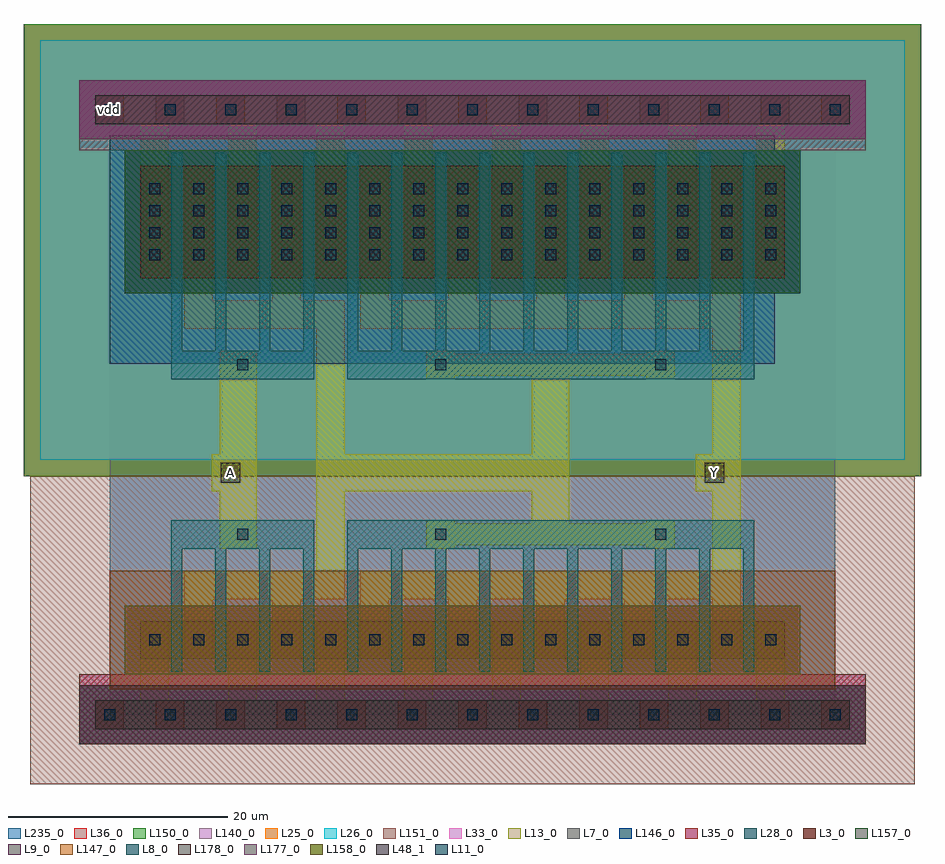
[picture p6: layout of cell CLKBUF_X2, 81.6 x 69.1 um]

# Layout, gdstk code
import gdstk
lib = gdstk.Library(unit=1e-6, precision=1e-09)
def R(c, l, rs):  # rectangles x0, y0, x1, y1
    for r in rs: c.add(gdstk.rectangle(r[:2], r[2:], *l))
def A(c, l, x, y, w, h, nx, ny, dx, dy):  # array of equal rectangles
    R(c, l, [(x+i*dx, y+j*dy, x+i*dx+w, y+j*dy+h) for i in range(nx) for j in range(ny)])
def P(c, l, *ps):  # polygons
    for p in ps: c.add(gdstk.Polygon(p, *l))
L3_0 = (3, 0)
L7_0 = (7, 0)
L8_0 = (8, 0)
L9_0 = (9, 0)
L11_0 = (11, 0)
L13_0 = (13, 0)
L25_0 = (25, 0)
L26_0 = (26, 0)
L28_0 = (28, 0)
L33_0 = (33, 0)
L35_0 = (35, 0)
L36_0 = (36, 0)
L48_1 = (48, 1)
L140_0 = (140, 0)
L146_0 = (146, 0)
L147_0 = (147, 0)
L150_0 = (150, 0)
L151_0 = (151, 0)
L157_0 = (157, 0)
L158_0 = (158, 0)
L177_0 = (177, 0)
L178_0 = (178, 0)
L235_0 = (235, 0)

clkbuf_x2 = lib.new_cell('CLKBUF_X2')
A(clkbuf_x2, L3_0, -1.3, -1.3, 2.6, 2.6, 13, 2, 5.5, 55)
R(clkbuf_x2, L3_0, [(2.8,5.1,61.4,8.5), (2.8,39.7,61.4,49.9)])
R(clkbuf_x2, L7_0, [(-2.75,-2.7,68.75,2.7)])
P(clkbuf_x2, L7_0, [(1.4,38.3),(1.4,51.3),(-2.75,51.3),(-2.75,57.7),(68.75,57.7),(68.75,51.3),(62.8,51.3),(62.8,38.3)])
P(clkbuf_x2, L8_0, [(5.6,3.9),(5.6,17.7),(18.6,17.7),(18.6,3.9),(17.6,3.9),(17.6,15.1),(14.6,15.1),(14.6,3.9),(13.6,3.9),(13.6,15.1),(10.6,15.1),(10.6,3.9),(9.6,3.9),(9.6,15.1),(6.6,15.1),(6.6,3.9)],
  [(21.6,3.9),(21.6,17.7),(58.6,17.7),(58.6,3.9),(57.6,3.9),(57.6,15.1),(54.6,15.1),(54.6,3.9),(53.6,3.9),(53.6,15.1),(50.6,15.1),(50.6,3.9),(49.6,3.9),(49.6,15.1),(46.6,15.1),(46.6,3.9),(45.6,3.9),(45.6,15.1),(42.6,15.1),(42.6,3.9),(41.6,3.9),(41.6,15.1),(38.6,15.1),(38.6,3.9),(37.6,3.9),(37.6,15.1),(34.6,15.1),(34.6,3.9),(33.6,3.9),(33.6,15.1),(30.6,15.1),(30.6,3.9),(29.6,3.9),(29.6,15.1),(26.6,15.1),(26.6,3.9),(25.6,3.9),(25.6,15.1),(22.6,15.1),(22.6,3.9)],
  [(5.6,30.5),(5.6,51.1),(6.6,51.1),(6.6,33.1),(9.6,33.1),(9.6,51.1),(10.6,51.1),(10.6,33.1),(13.6,33.1),(13.6,51.1),(14.6,51.1),(14.6,33.1),(17.6,33.1),(17.6,51.1),(18.6,51.1),(18.6,30.5)],
  [(21.6,30.5),(21.6,51.1),(22.6,51.1),(22.6,33.1),(25.6,33.1),(25.6,51.1),(26.6,51.1),(26.6,33.1),(29.6,33.1),(29.6,51.1),(30.6,51.1),(30.6,33.1),(33.6,33.1),(33.6,51.1),(34.6,51.1),(34.6,33.1),(37.6,33.1),(37.6,51.1),(38.6,51.1),(38.6,33.1),(41.6,33.1),(41.6,51.1),(42.6,51.1),(42.6,33.1),(45.6,33.1),(45.6,51.1),(46.6,51.1),(46.6,33.1),(49.6,33.1),(49.6,51.1),(50.6,51.1),(50.6,33.1),(53.6,33.1),(53.6,51.1),(54.6,51.1),(54.6,33.1),(57.6,33.1),(57.6,51.1),(58.6,51.1),(58.6,30.5)])
R(clkbuf_x2, L9_0, [(1.4,3.7,62.8,9.9), (-2.75,52.3,68.75,57.7)])
A(clkbuf_x2, L11_0, -0.5, -0.5, 1, 1, 13, 2, 5.5, 55)
A(clkbuf_x2, L11_0, 3.6, 6.3, 1, 1, 5, 2, 4, 35)
A(clkbuf_x2, L11_0, 19.6, 6.3, 1, 1, 11, 2, 4, 35)
A(clkbuf_x2, L11_0, 3.6, 43.3, 1, 1, 5, 3, 4, 2)
A(clkbuf_x2, L11_0, 19.6, 43.3, 1, 1, 11, 3, 4, 2)
R(clkbuf_x2, L11_0, [(11.6,15.9,12.6,16.9), (29.6,15.9,30.6,16.9), (49.6,15.9,50.6,16.9), (11.6,31.3,12.6,32.3), (29.6,31.3,30.6,32.3), (49.6,31.3,50.6,32.3)])
P(clkbuf_x2, L13_0, [(-1.3,-1.3),(-1.3,1.3),(2.8,1.3),(2.8,8.5),(5.4,8.5),(5.4,1.3),(10.8,1.3),(10.8,8.5),(13.4,8.5),(13.4,1.3),(18.8,1.3),(18.8,8.5),(21.4,8.5),(21.4,1.3),(26.8,1.3),(26.8,8.5),(29.4,8.5),(29.4,1.3),(34.8,1.3),(34.8,8.5),(37.4,8.5),(37.4,1.3),(42.8,1.3),(42.8,8.5),(45.4,8.5),(45.4,1.3),(50.8,1.3),(50.8,8.5),(53.4,8.5),(53.4,1.3),(58.8,1.3),(58.8,8.5),(61.4,8.5),(61.4,1.3),(67.3,1.3),(67.3,-1.3)],
  [(10,15.1),(10,20.3),(9.3,20.3),(9.3,23.7),(10,23.7),(10,33.1),(13.4,33.1),(13.4,15.1)],
  [(6.8,5.1),(6.8,13.1),(18.8,13.1),(18.8,35.1),(6.8,35.1),(6.8,49.9),(9.4,49.9),(9.4,37.7),(14.8,37.7),(14.8,49.9),(17.4,49.9),(17.4,37.7),(21.4,37.7),(21.4,23.7),(38.4,23.7),(38.4,30.8),(31.4,30.8),(31.4,30.5),(28.8,30.5),(28.8,33.1),(31.4,33.1),(31.4,32.8),(48.8,32.8),(48.8,33.1),(51.4,33.1),(51.4,30.5),(48.8,30.5),(48.8,30.8),(41.8,30.8),(41.8,17.4),(48.8,17.4),(48.8,17.7),(51.4,17.7),(51.4,15.1),(48.8,15.1),(48.8,15.4),(31.4,15.4),(31.4,15.1),(28.8,15.1),(28.8,17.7),(31.4,17.7),(31.4,17.4),(38.4,17.4),(38.4,20.3),(21.4,20.3),(21.4,10.5),(17.4,10.5),(17.4,5.1),(14.8,5.1),(14.8,10.5),(9.4,10.5),(9.4,5.1)],
  [(22.8,5.1),(22.8,13.1),(54.8,13.1),(54.8,20.3),(53.3,20.3),(53.3,23.7),(54.8,23.7),(54.8,35.1),(22.8,35.1),(22.8,49.9),(25.4,49.9),(25.4,37.7),(30.8,37.7),(30.8,49.9),(33.4,49.9),(33.4,37.7),(38.8,37.7),(38.8,49.9),(41.4,49.9),(41.4,37.7),(46.8,37.7),(46.8,49.9),(49.4,49.9),(49.4,37.7),(54.8,37.7),(54.8,49.9),(57.4,49.9),(57.4,5.1),(54.8,5.1),(54.8,10.5),(49.4,10.5),(49.4,5.1),(46.8,5.1),(46.8,10.5),(41.4,10.5),(41.4,5.1),(38.8,5.1),(38.8,10.5),(33.4,10.5),(33.4,5.1),(30.8,5.1),(30.8,10.5),(25.4,10.5),(25.4,5.1)],
  [(2.8,39.7),(2.8,53.7),(-1.3,53.7),(-1.3,56.3),(67.3,56.3),(67.3,53.7),(61.4,53.7),(61.4,39.7),(58.8,39.7),(58.8,53.7),(53.4,53.7),(53.4,39.7),(50.8,39.7),(50.8,53.7),(45.4,53.7),(45.4,39.7),(42.8,39.7),(42.8,53.7),(37.4,53.7),(37.4,39.7),(34.8,39.7),(34.8,53.7),(29.4,53.7),(29.4,39.7),(26.8,39.7),(26.8,53.7),(21.4,53.7),(21.4,39.7),(18.8,39.7),(18.8,53.7),(13.4,53.7),(13.4,39.7),(10.8,39.7),(10.8,53.7),(5.4,53.7),(5.4,39.7)])
R(clkbuf_x2, L25_0, [(-6.3,23.2,72.3,61.3)])
R(clkbuf_x2, L26_0, [(-6.3,23.2,72.3,61.3)])
R(clkbuf_x2, L28_0, [(-2.75,-2.7,68.75,2.7), (1.4,38.3,62.8,51.3)])
P(clkbuf_x2, L33_0, [(-2.75,-2.7),(-2.75,3.7),(1.4,3.7),(1.4,9.9),(62.8,9.9),(62.8,3.7),(68.75,3.7),(68.75,-2.7)],
  [(1.4,38.3),(1.4,51.3),(-2.75,51.3),(-2.75,57.7),(68.75,57.7),(68.75,51.3),(62.8,51.3),(62.8,38.3)])
R(clkbuf_x2, L35_0, [(-2.75,52.3,68.75,57.7)])
P(clkbuf_x2, L35_0, [(-2.75,-2.7),(-2.75,3.7),(1.4,3.7),(1.4,9.9),(62.8,9.9),(62.8,3.7),(68.75,3.7),(68.75,-2.7)])
R(clkbuf_x2, L36_0, [(-7.8,21.7,73.8,62.8)])
R(clkbuf_x2, L48_1, [(-1.3,-1.3,67.3,1.3), (10.1,21.1,11.9,22.9), (54.1,21.1,55.9,22.9), (-1.3,53.7,67.3,56.3)])
R(clkbuf_x2, L140_0, [(-6.3,23.2,72.3,61.3)])
P(clkbuf_x2, L146_0, [(0,31.9),(0,52.7),(60.5,52.7),(60.5,51.3),(62.8,51.3),(62.8,38.3),(60.5,38.3),(60.5,31.9)])
R(clkbuf_x2, L147_0, [(0,2.3,66,13.1)])
R(clkbuf_x2, L150_0, [(-7.8,21.7,73.8,62.8)])
R(clkbuf_x2, L151_0, [(-7.2,-6.3,73.2,21.7)])
R(clkbuf_x2, L157_0, [(1.4,38.3,62.8,51.3)])
R(clkbuf_x2, L158_0, [(1.4,3.7,62.8,9.9)])
R(clkbuf_x2, L177_0, [(-2.75,52.3,68.75,57.7)])
R(clkbuf_x2, L178_0, [(-2.75,-2.7,68.75,2.7)])
R(clkbuf_x2, L235_0, [(0,0,66,55)])
clkbuf_x2.add(gdstk.Label('A', (11,22), layer=48, texttype=0))
clkbuf_x2.add(gdstk.Label('Y', (55,22), layer=48, texttype=0))
clkbuf_x2.add(gdstk.Label('vdd', (0,55), layer=48, texttype=0))

lib.write_gds('CLKBUF_X2.gds')
